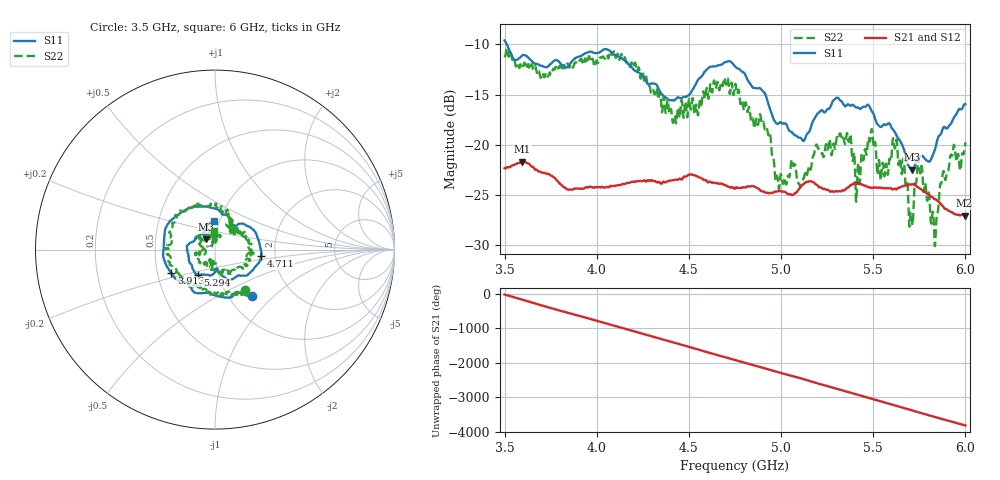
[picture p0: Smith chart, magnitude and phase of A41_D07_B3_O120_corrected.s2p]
! Created with skrf 1.9.0 (http://scikit-rf.org).
# Hz S RI R 50.0
!freq ReS11 ImS11 ReS21 ImS21 ReS12 ImS12 ReS22 ImS22
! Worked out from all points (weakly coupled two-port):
!   1601 points, 3.5 GHz to 6 GHz, reference 50 ohm
!   highest |S21| = -21.66 dB at 3.595 GHz (marker M1); lowest = -27.0 dB at 5.995 GHz (marker M2)
!   lowest |S11| = -22.5 dB at 5.713 GHz (marker M3), VSWR 1.16, Z = 45.2 + j5.28 ohm
!   |S11| at or under -10 dB: 3.512 GHz to end of sweep
!   |S22| runs from -30.1 to -10.4 dB; largest |S21 - S12| = 0.00093
!   S11 on the Smith chart (normalised r, x): 3.5 GHz: 1.28, -0.74; 3.913 GHz: 0.59, -0.17; 4.711 GHz: 1.69, -0.13; 5.294 GHz: 0.79, -0.23; 6 GHz: 0.94, +0.31
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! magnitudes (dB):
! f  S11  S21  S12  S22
! 3.5 GHz  -9.6  -22.3  -22.3  -11.1
! 3.595 GHz  -11.1  -21.7  -21.7  -12.1
! 3.913 GHz  -11.2  -24.3  -24.3  -11.5
! 3.917 GHz  -11.1  -24.4  -24.4  -11.4
! 4.334 GHz  -14.4  -23.7  -23.7  -15.4
! 4.711 GHz  -11.7  -24.1  -24.1  -13.4
! 4.75 GHz  -12.2  -24.3  -24.3  -14.0
! 4.931 GHz  -16.0  -24.8  -24.7  -19.0
! 4.98 GHz  -17.9  -24.6  -24.6  -23.1
! 5.167 GHz  -17.9  -23.7  -23.6  -21.7
! 5.294 GHz  -15.4  -24.6  -24.6  -20.4
! 5.367 GHz  -16.0  -24.2  -24.1  -19.7
! 5.416 GHz  -16.3  -23.9  -23.9  -22.4
! 5.484 GHz  -16.4  -24.3  -24.2  -19.4
! 5.584 GHz  -17.8  -24.3  -24.3  -21.9
! 5.619 GHz  -18.8  -24.4  -24.4  -20.3
! 5.713 GHz  -22.5  -23.9  -23.9  -28.0
! 5.753 GHz  -21.2  -24.3  -24.3  -22.7
! 5.839 GHz  -20.2  -25.4  -25.4  -28.9
! 5.873 GHz  -18.6  -26.0  -26.0  -23.3
! 5.995 GHz  -15.9  -27.0  -26.9  -20.4
! 6 GHz  -15.9  -27.0  -27.0  -19.7
